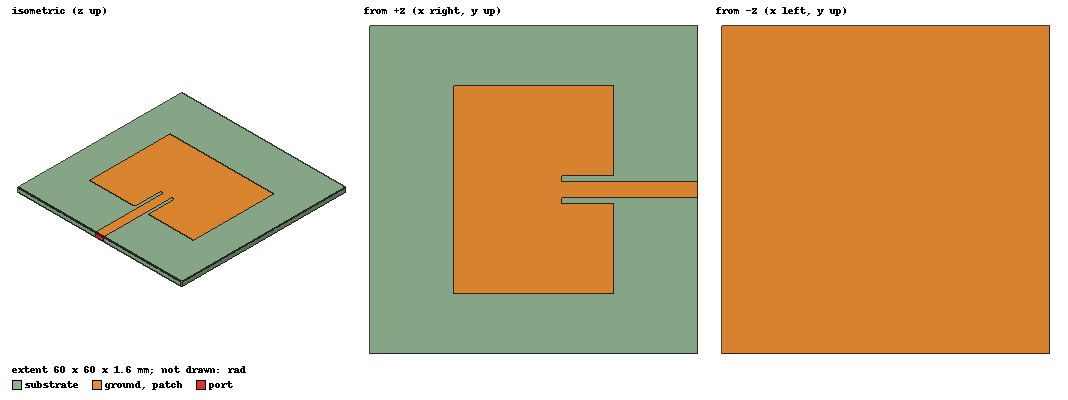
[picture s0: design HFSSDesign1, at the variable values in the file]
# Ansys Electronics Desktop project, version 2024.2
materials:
  vacuum: permittivity=1
  FR4_epoxy: permittivity=4.4 dielectric_loss_tangent=0.02
  air: permittivity=1.0006 permeability=1.0000004

design HFSSDesign1 (HFSS, HFSS Terminal Network, model units mm)
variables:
  l = 29.4mm
  w = 38mm
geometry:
  ground = rectangle(corner=(-30mm, -30mm, 0mm), x_size=60mm, y_size=60mm)
  substrate [FR4_epoxy] = box(corner=(-30mm, -30mm, 0mm), size=(60mm, 60mm, 1.6mm))
  patch = rectangle(corner=(-l/2, -w/2, 1.6mm), x_size=l, y_size=w)
  feed = rectangle(corner=(0mm, -1.5mm, 1.6mm), x_size=30mm, y_size=3mm)
  cut = rectangle(corner=(l/2, -2.5mm, 1.6mm), x_size=-9.5mm, y_size=5mm)
  patch.subtract(cut)
  patch.unite(feed)
  port = rectangle(corner=(30mm, -1.5mm, 1.6mm), y_size=3mm, z_size=-1.6mm)
  rad [air] = box(corner=(-50mm, -50mm, -50mm), size=(100mm, 100mm, 100mm))
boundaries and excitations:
  Rad1: Radiation Objects=rad
  PerfE1: Perfect E Objects=[patch, ground]
  1: Lumped Port Objects=port LumpedPortType=Modal Modes{Mode1{IntLine{(30, 0, 0) -> (30, 0, 1.6)} CharImp=Zpi}} Impedance=50ohm
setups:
  Setup1: HfssDriven Frequency=5GHz MaxDeltaS=0.02 MaximumPasses=20 MinimumPasses=1 MinimumConvergedPasses=1 PercentRefinement=30 BasisOrder=1 PortAccuracy=2 DrivenSolverType="Direct Solver"
    sweep Sweep: 1GHz to 5GHz step 0.0125GHz; Type=Interpolating InterpTolerance=0.5 InterpMaxSolns=250 PassivityErrorTolerance=0.0001
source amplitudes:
  1:1: 1V 0deg
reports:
  S Parameter Plot 1: dB(S(1,1)) vs Freq on Setup1 : Sweep
